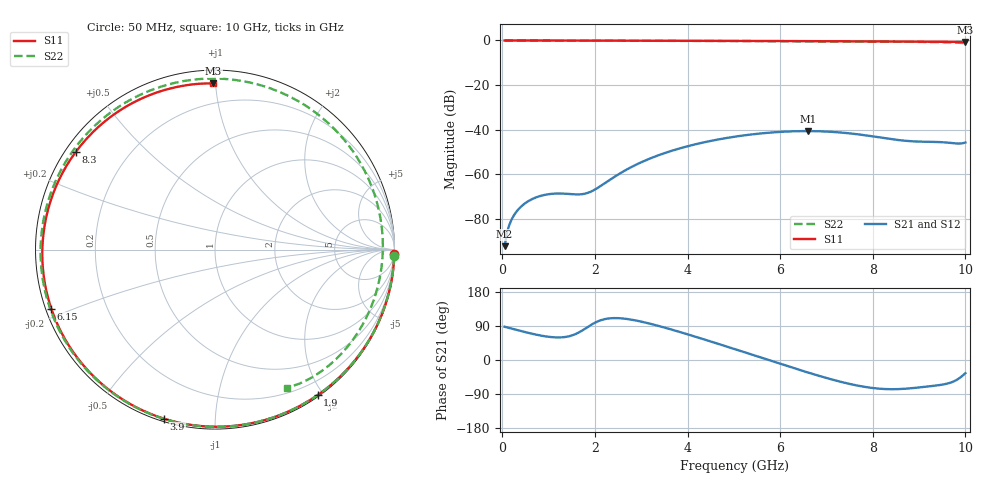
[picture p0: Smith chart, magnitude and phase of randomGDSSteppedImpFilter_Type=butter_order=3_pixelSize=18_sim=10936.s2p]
! freq	dB(S11)	phase(S11)	dB(S12)	phase(S12)
!  dB(S21)	phase(S21)	dB(S22)	phase(S22)
!S-par simulation data
#  GHz  S  DB  R 50
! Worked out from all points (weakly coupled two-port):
!   200 points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, 50 MHz to 10 GHz, reference 50 ohm
!   highest |S21| = -40.57 dB at 6.6 GHz (marker M1); lowest = -92.1 dB at 50 MHz (marker M2)
!   lowest |S11| = -0.7 dB at 10 GHz (marker M3), VSWR 25.99, Z = 3.81 + j49.4 ohm
!   |S11| at or under -10 dB: nowhere
!   |S22| runs from -1.2 to 0.0 dB; largest |S21 - S12| = 0
!   S11 on the Smith chart (normalised r, x): 50 MHz: 1, -76; 1.9 GHz: 0.02, -1.93; 3.9 GHz: 0.01, -0.74; 6.15 GHz: 0.02, -0.17; 8.3 GHz: 0.03, +0.32; 10 GHz: 0.08, +0.99
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0.05  -0.00 -1.5  -92.08 87.8  -92.08 87.8  -0.01 -2.0
0.2  -0.01 -5.9  -80.19 83.0  -80.19 83.0  -0.01 -8.0
0.45  -0.02 -13.3  -73.56 75.0  -73.56 75.0  -0.02 -18.0
0.8  -0.03 -23.6  -69.74 65.2  -69.74 65.2  -0.04 -31.9
1.75  -0.06 -50.7  -68.72 79.6  -68.72 79.6  -0.09 -68.6
1.9  -0.07 -54.8  -67.79 91.3  -67.79 91.3  -0.09 -74.2
2.65  -0.09 -75.1  -58.19 108.9  -58.19 108.9  -0.13 -102.0
3.4  -0.12 -94.4  -51.19 89.1  -51.19 89.1  -0.16 -129.3
3.9  -0.14 -106.8  -47.92 71.5  -47.92 71.5  -0.19 -147.5
4.5  -0.17 -121.3  -44.97 48.9  -44.97 48.9  -0.23 -169.9
5.05  -0.20 -134.3  -42.98 27.5  -42.98 27.5  -0.27 168.6
5.6  -0.23 -147.2  -41.58 5.9  -41.58 5.9  -0.32 145.8
6.15  -0.27 -160.2  -40.77 -15.8  -40.77 -15.8  -0.36 121.5
6.6  -0.30 -171.0  -40.57 -33.0  -40.57 -33.0  -0.40 100.4
6.7  -0.31 -173.4  -40.59 -36.7  -40.59 -36.7  -0.41 95.5
7.45  -0.38 167.9  -41.48 -61.7  -41.48 -61.7  -0.47 58.2
7.9  -0.43 156.0  -42.63 -72.3  -42.63 -72.3  -0.50 35.5
8.3  -0.47 145.0  -43.87 -76.8  -43.87 -76.8  -0.54 15.6
8.35  -0.47 143.6  -44.02 -77.0  -44.02 -77.0  -0.55 13.2
9.1  -0.56 121.1  -45.33 -71.1  -45.33 -71.1  -0.67 -22.1
9.6  -0.62 104.6  -45.70 -62.5  -45.70 -62.5  -0.85 -44.2
10  -0.67 90.5  -45.67 -34.9  -45.67 -34.9  -1.23 -62.3
